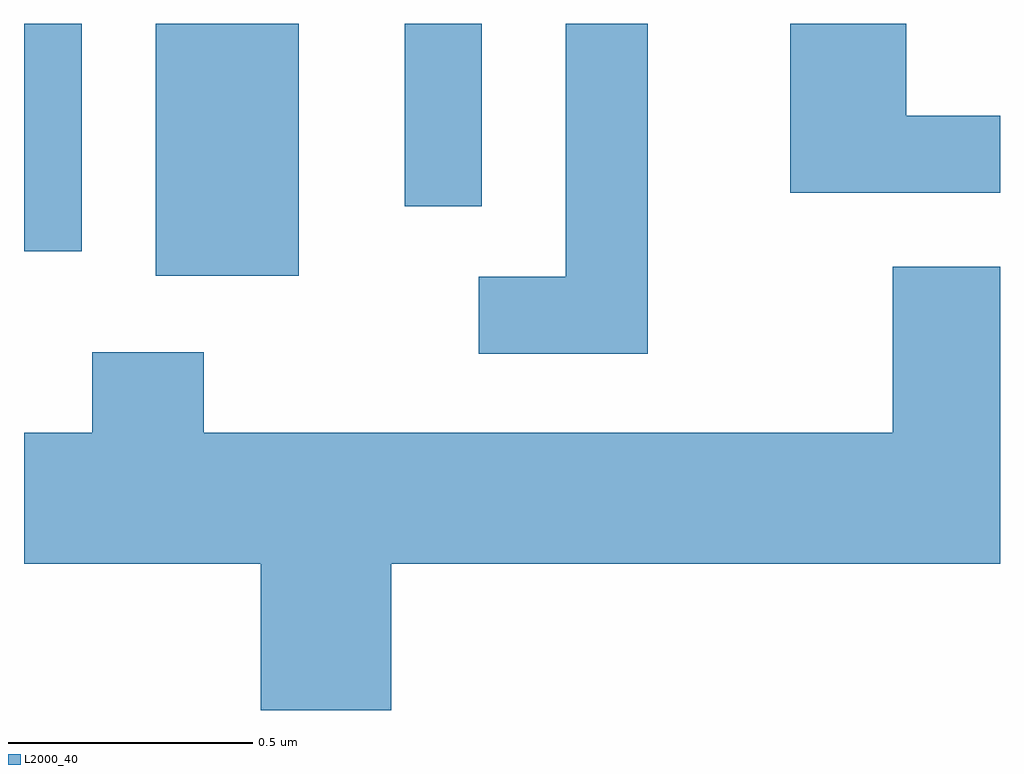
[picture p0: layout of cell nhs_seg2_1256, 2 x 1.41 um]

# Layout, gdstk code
import gdstk
lib = gdstk.Library(unit=1e-6, precision=1e-09)
def R(c, l, rs):  # rectangles x0, y0, x1, y1
    for r in rs: c.add(gdstk.rectangle(r[:2], r[2:], *l))
def P(c, l, *ps):  # polygons
    for p in ps: c.add(gdstk.Polygon(p, *l))
L2000_40 = (2000, 40)

nhs_seg2_1256 = lib.new_cell('nhs_seg2_1256')
R(nhs_seg2_1256, L2000_40, [(194.881,1002.286,195.174,1002.802), (194.611,1002.336,194.729,1002.802), (195.391,1002.428,195.549,1002.802)])
P(nhs_seg2_1256, L2000_40, [(196.611,1002.614),(196.419,1002.614),(196.419,1002.802),(196.181,1002.802),(196.181,1002.456),(196.611,1002.456)],
  [(195.889,1002.802),(195.721,1002.802),(195.721,1002.284),(195.543,1002.284),(195.543,1002.126),(195.889,1002.126)],
  [(195.364,1001.696),(196.611,1001.696),(196.611,1002.304),(196.391,1002.304),(196.391,1001.964),(194.979,1001.964),(194.979,1002.129),(194.751,1002.129),(194.751,1001.964),(194.611,1001.964),(194.611,1001.696),(195.096,1001.696),(195.096,1001.396),(195.364,1001.396)])

lib.write_gds('nhs_seg2_1256.gds')
